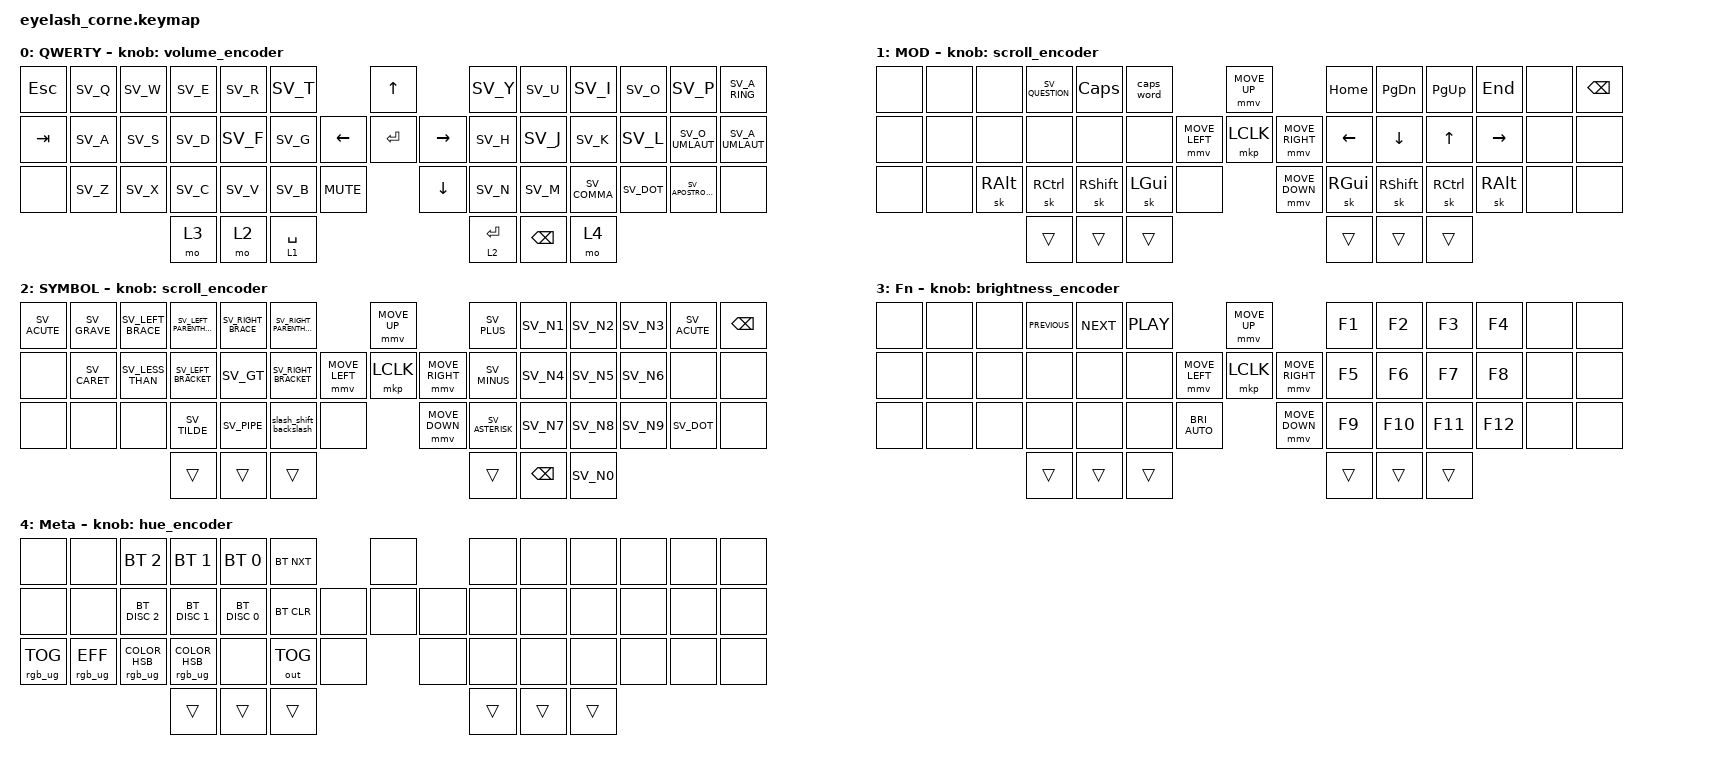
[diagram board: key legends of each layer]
#define ZMK_POINTING_DEFAULT_MOVE_VAL 1200  // 600
#define ZMK_POINTING_DEFAULT_SCRL_VAL 25   // 10

#include <input/processors.dtsi>
#include <zephyr/dt-bindings/input/input-event-codes.h>

#ifndef KEYMAP_DRAWER

#include "keys_sv.h"

#endif

#include <behaviors.dtsi>
#include <dt-bindings/zmk/bt.h>
#include <dt-bindings/zmk/keys.h>
#include <dt-bindings/zmk/outputs.h>
#include <dt-bindings/zmk/pointing.h>
#include <dt-bindings/zmk/rgb.h>

&mmv_input_listener { input-processors = <&zip_xy_scaler 2 1>; };

&msc_input_listener { input-processors = <&zip_scroll_scaler 2 1>; };

&msc {
    acceleration-exponent = <1>;      // 0
    time-to-max-speed-ms = <100>;       // 300
    delay-ms = <0>;                   // 0
};

&mmv {
    time-to-max-speed-ms = <500>;
    acceleration-exponent = <1>;
    trigger-period-ms = <16>;
};

/ {
    behaviors {
        volume_encoder: volume_encoder {
            compatible = "zmk,behavior-sensor-rotate";
            label = "ENCODER_VOLUME_KNOB";
            #sensor-binding-cells = <0>;
            bindings = <&kp C_VOL_UP>, <&kp C_VOL_DN>;

            tap-ms = <5>;
        };

        hml: homewrow_mods_left {
            compatible = "zmk,behavior-hold-tap";
            label = "HOMEROW_MODS_LEFT_HAND";
            bindings = <&kp>, <&kp>;

            #binding-cells = <2>;
            tapping-term-ms = <200>;
            hold-trigger-key-positions = <45 46 47 36 37 8 9 10 11 12 23 24 25 26 27 37 38 39 40 41 7 22>;
        };

        hmr: homerow_mods_right {
            compatible = "zmk,behavior-hold-tap";
            label = "HOMEROW_MODS_RIGHT_HAND";
            bindings = <&kp>, <&kp>;

            #binding-cells = <2>;
            tapping-term-ms = <200>;
            hold-trigger-key-positions = <0 1 2 3 4 5 13 14 15 16 17 18 28 29 30 31 32 33 34 42 43 44>;
        };

        hue_encoder: hue_encoder {
            compatible = "zmk,behavior-sensor-rotate";
            #sensor-binding-cells = <0>;
            bindings = <&rgb_ug RGB_HUI>, <&rgb_ug RGB_HUD>;

            label = "HUE_ENCODER";
        };

        brightness_encoder: brightness_encoder {
            compatible = "zmk,behavior-sensor-rotate";
            #sensor-binding-cells = <0>;
            bindings = <&kp C_BRIGHTNESS_INC>, <&kp C_BRIGHTNESS_DEC>;

            tap-ms = <100>;
            label = "BRIGHTNESS_ENCODER";
        };

        slash_shift_backslash: slash_shift_backslash {
            compatible = "zmk,behavior-mod-morph";
            label = "SLASH_SHIFT_BACKSLASH";
            bindings = <&kp SV_SLASH>, <&kp SV_BACKSLASH>;

            #binding-cells = <0>;
            mods = <(MOD_LSFT|MOD_RSFT)>;
        };
    };

    rgb_encoder: rgb_encoder {
        compatible = "zmk,behavior-sensor-rotate";
        #sensor-binding-cells = <0>;
        bindings = <&rgb_ug RGB_BRI>, <&rgb_ug RGB_BRD>;
    };

    scroll_encoder: scroll_encoder {
        compatible = "zmk,behavior-sensor-rotate";
        #sensor-binding-cells = <0>;
        bindings = <&msc SCRL_DOWN>, <&msc SCRL_UP>;

        tap-ms = <100>;
    };

    combos {
        compatible = "zmk,combos";

        L_GUI {
            bindings = <&kp LEFT_GUI>;
            key-positions = <17 18>;
        };

        L_SHIFT {
            bindings = <&kp LEFT_SHIFT>;
            key-positions = <17 16>;
        };

        L_CTRL {
            bindings = <&kp LEFT_CONTROL>;
            key-positions = <16 15>;
        };

        L_ALT {
            bindings = <&kp LEFT_ALT>;
            key-positions = <15 14>;
        };

        R_GUI {
            bindings = <&kp RIGHT_GUI>;
            key-positions = <22 23>;
        };

        R_SHIFT {
            bindings = <&kp RIGHT_SHIFT>;
            key-positions = <23 24>;
        };

        R_CTRL {
            bindings = <&kp RIGHT_CONTROL>;
            key-positions = <25 24>;
        };

        R_ALT {
            bindings = <&kp RIGHT_ALT>;
            key-positions = <26 25>;
        };
    };

    keymap {
        compatible = "zmk,keymap";

        default_layer {
            display-name = "QWERTY";
            bindings = <
&kp ESC  &kp SV_Q  &kp SV_W  &kp SV_E  &kp SV_R  &kp SV_T                             &kp UP                &kp SV_Y      &kp SV_U       &kp SV_I      &kp SV_O    &kp SV_P           &kp SV_A_RING
&kp TAB  &kp SV_A  &kp SV_S  &kp SV_D  &kp SV_F  &kp SV_G                   &kp LEFT  &kp ENTER  &kp RIGHT  &kp SV_H      &kp SV_J       &kp SV_K      &kp SV_L    &kp SV_O_UMLAUT    &kp SV_A_UMLAUT
&none    &kp SV_Z  &kp SV_X  &kp SV_C  &kp SV_V  &kp SV_B     &kp C_MUTE              &kp DOWN              &kp SV_N      &kp SV_M       &kp SV_COMMA  &kp SV_DOT  &kp SV_APOSTROPHE  &none
                             &mo 3     &mo 2     &lt 1 SPACE                                                &lt 2 RETURN  &kp BACKSPACE  &mo 4
            >;

            sensor-bindings = <&volume_encoder>;
        };

        mods_layer {
            display-name = "MOD";
            bindings = <
&none  &none  &none          &kp SV_QUESTION    &kp CAPSLOCK     &caps_word                             &mmv MOVE_UP                     &kp HOME       &kp PAGE_DOWN    &kp PAGE_UP        &kp END        &none  &kp BSPC
&none  &none  &none          &none              &none            &none                  &mmv MOVE_LEFT  &mkp LCLK       &mmv MOVE_RIGHT  &kp LEFT       &kp DOWN         &kp UP             &kp RIGHT      &none  &none
&none  &none  &sk RIGHT_ALT  &sk RIGHT_CONTROL  &sk RIGHT_SHIFT  &sk LEFT_GUI  &none                    &mmv MOVE_DOWN                   &sk RIGHT_GUI  &sk RIGHT_SHIFT  &sk RIGHT_CONTROL  &sk RIGHT_ALT  &none  &none
                             &trans             &trans           &trans                                                                  &trans         &trans           &trans
            >;

            sensor-bindings = <&scroll_encoder>;
        };

        raise_layer {
            display-name = "SYMBOL";
            bindings = <
&kp SV_ACUTE  &kp SV_GRAVE  &kp SV_LEFT_BRACE  &kp SV_LEFT_PARENTHESIS  &kp SV_RIGHT_BRACE  &kp SV_RIGHT_PARENTHESIS                           &mmv MOVE_UP                     &kp SV_PLUS      &kp SV_N1  &kp SV_N2  &kp SV_N3  &kp SV_ACUTE  &kp BSPC
&none         &kp SV_CARET  &kp SV_LESS_THAN   &kp SV_LEFT_BRACKET      &kp SV_GT           &kp SV_RIGHT_BRACKET               &mmv MOVE_LEFT  &mkp LCLK       &mmv MOVE_RIGHT  &kp SV_MINUS     &kp SV_N4  &kp SV_N5  &kp SV_N6  &none         &none
&none         &none         &none              &kp SV_TILDE             &kp SV_PIPE         &slash_shift_backslash    &none                    &mmv MOVE_DOWN                   &kp SV_ASTERISK  &kp SV_N7  &kp SV_N8  &kp SV_N9  &kp SV_DOT    &none
                                               &trans                   &trans              &trans                                                                              &trans           &kp BSPC   &kp SV_N0
            >;

            sensor-bindings = <&scroll_encoder>;
        };

        Fn {
            display-name = "Fn";
            bindings = <
&none  &none  &none  &kp C_PREVIOUS  &kp C_NEXT  &kp C_PLAY                                           &mmv MOVE_UP                     &kp F1  &kp F2   &kp F3   &kp F4   &none  &none
&none  &none  &none  &none           &none       &none                                &mmv MOVE_LEFT  &mkp LCLK       &mmv MOVE_RIGHT  &kp F5  &kp F6   &kp F7   &kp F8   &none  &none
&none  &none  &none  &none           &none       &none       &kp C_BRIGHTNESS_AUTO                    &mmv MOVE_DOWN                   &kp F9  &kp F10  &kp F11  &kp F12  &none  &none
                     &trans          &trans      &trans                                                                                &trans  &trans   &trans
            >;

            sensor-bindings = <&brightness_encoder>;
        };

        Meta {
            bindings = <
&none            &none            &bt BT_SEL 2                     &bt BT_SEL 1                    &bt BT_SEL 0   &bt BT_NXT                    &none         &none   &none   &none   &none  &none  &none
&none            &none            &bt BT_DISC 2                    &bt BT_DISC 1                   &bt BT_DISC 0  &bt BT_CLR             &none  &none  &none  &none   &none   &none   &none  &none  &none
&rgb_ug RGB_TOG  &rgb_ug RGB_EFF  &rgb_ug RGB_COLOR_HSB(0,100,50)  &rgb_ug RGB_COLOR_HSB(0,0,100)  &none          &out OUT_TOG  &none           &none         &none   &none   &none   &none  &none  &none
                                                                   &trans                          &trans         &trans                                      &trans  &trans  &trans
            >;

            sensor-bindings = <&hue_encoder>;
        };
    };

    conditional_layers { compatible = "zmk,conditional-layers"; };
};
